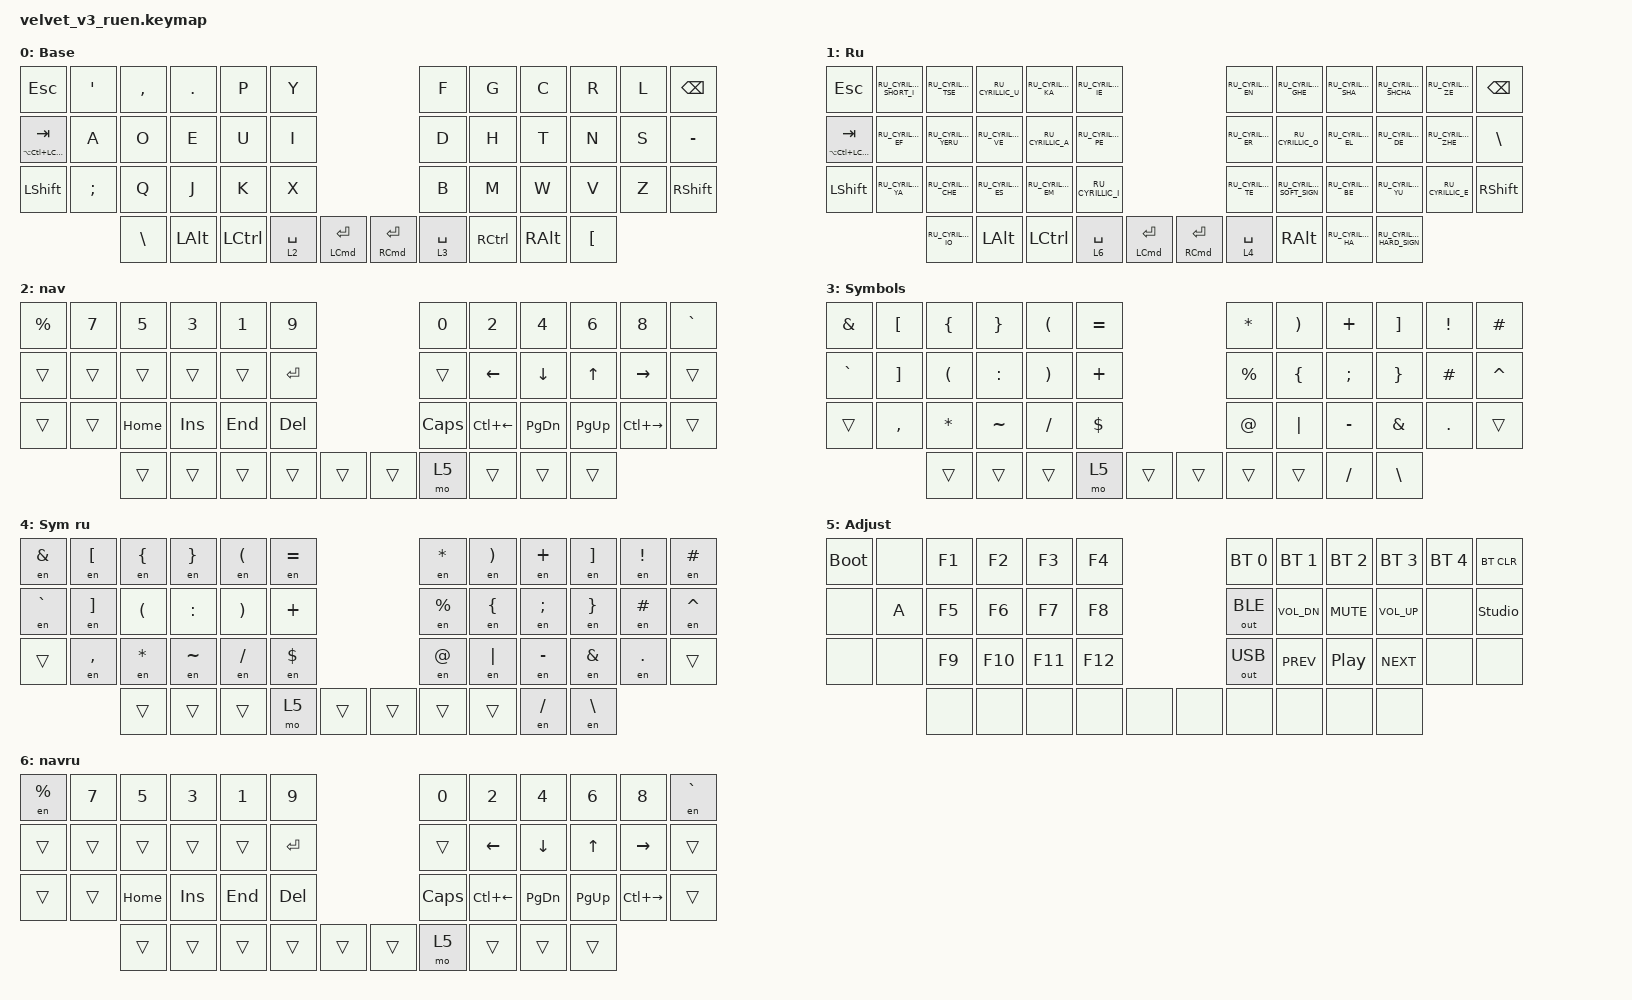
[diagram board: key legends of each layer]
#include "keys_ru.h"
#include <behaviors.dtsi>
#include <dt-bindings/zmk/bt.h>
#include <dt-bindings/zmk/keys.h>
#include <dt-bindings/zmk/outputs.h>

/ {
    combos {
        compatible = "zmk,combos";

        cmben {
            bindings = <&layer_en>;
            key-positions = <3 4>;
            layers = <1>;
        };

        cmbru {
            bindings = <&layer_ru>;
            key-positions = <3 4>;
            layers = <0>;
        };
    };

    macros {
        to_ru: to_ru {
            compatible = "zmk,behavior-macro";
            #binding-cells = <0>;
            bindings = <&kp LS(LC(N2))>;
            label = "TO_RU";
            wait-ms = <0>;
            tap-ms = <30>;
        };

        to_en: to_en {
            compatible = "zmk,behavior-macro";
            #binding-cells = <0>;
            bindings = <&kp LS(LC(N1))>;
            label = "TO_EN";
            wait-ms = <0>;
            tap-ms = <30>;
        };

        layer_en: layer_en {
            compatible = "zmk,behavior-macro";
            #binding-cells = <0>;
            bindings = <&to 0 &to_en>;
            label = "LAYER_EN";
            wait-ms = <0>;
            tap-ms = <30>;
        };

        layer_ru: layer_ru {
            compatible = "zmk,behavior-macro";
            #binding-cells = <0>;
            bindings = <&to 1 &to_ru>;
            label = "LAYER_RU";
            tap-ms = <30>;
            wait-ms = <0>;
        };

        en: en {
            compatible = "zmk,behavior-macro-one-param";
            #binding-cells = <1>;
            bindings =
                <&to_en>,
                <&macro_press>,
                <&macro_param_1to1 &kp MACRO_PLACEHOLDER>,
                <&macro_pause_for_release>,
                <&macro_release>,
                <&macro_param_1to1 &kp MACRO_PLACEHOLDER>,
                <&macro_tap>,
                <&to_ru>;

            label = "EN";
            wait-ms = <0>;
            tap-ms = <30>;
        };
    };

    keymap {
        compatible = "zmk,keymap";

        en {
            bindings = <
&kp ESC                       &kp APOS  &kp COMMA      &kp DOT       &kp P             &kp Y                                                           &kp F        &kp G              &kp C          &kp R             &kp L  &kp BSPC
&mt LA(LC(LEFT_COMMAND)) TAB  &kp A     &kp O          &kp E         &kp U             &kp I                                                           &kp D        &kp H              &kp T          &kp N             &kp S  &kp MINUS
&kp LSHFT                     &kp SEMI  &kp Q          &kp J         &kp K             &kp X                                                           &kp B        &kp M              &kp W          &kp V             &kp Z  &kp RSHFT
                                        &kp BACKSLASH  &kp LEFT_ALT  &kp LEFT_CONTROL  &lt 2 SPACE  &mt LEFT_COMMAND ENTER    &mt RIGHT_COMMAND ENTER  &lt 3 SPACE  &kp RIGHT_CONTROL  &kp RIGHT_ALT  &kp LEFT_BRACKET
            >;

            display-name = "Base";
        };

        ru {
            display-name = "Ru";
            bindings = <
&kp ESC                       &kp RU_CYRILLIC_SHORT_I  &kp RU_CYRILLIC_TSE   &kp RU_CYRILLIC_U   &kp RU_CYRILLIC_KA  &kp RU_CYRILLIC_IE                                                     &kp RU_CYRILLIC_EN  &kp RU_CYRILLIC_GHE        &kp RU_CYRILLIC_SHA  &kp RU_CYRILLIC_SHCHA      &kp RU_CYRILLIC_ZE   &kp BSPC
&mt LA(LC(LEFT_COMMAND)) TAB  &kp RU_CYRILLIC_EF       &kp RU_CYRILLIC_YERU  &kp RU_CYRILLIC_VE  &kp RU_CYRILLIC_A   &kp RU_CYRILLIC_PE                                                     &kp RU_CYRILLIC_ER  &kp RU_CYRILLIC_O          &kp RU_CYRILLIC_EL   &kp RU_CYRILLIC_DE         &kp RU_CYRILLIC_ZHE  &kp BSLH
&kp LSHFT                     &kp RU_CYRILLIC_YA       &kp RU_CYRILLIC_CHE   &kp RU_CYRILLIC_ES  &kp RU_CYRILLIC_EM  &kp RU_CYRILLIC_I                                                      &kp RU_CYRILLIC_TE  &kp RU_CYRILLIC_SOFT_SIGN  &kp RU_CYRILLIC_BE   &kp RU_CYRILLIC_YU         &kp RU_CYRILLIC_E    &kp RSHFT
                                                       &kp RU_CYRILLIC_IO    &kp LEFT_ALT        &kp LCTRL           &lt 6 SPACE         &mt LEFT_COMMAND ENTER    &mt RIGHT_COMMAND ENTER  &lt 4 SPACE         &kp RIGHT_ALT              &kp RU_CYRILLIC_HA   &kp RU_CYRILLIC_HARD_SIGN
            >;
        };

        nav {
            bindings = <
&kp PRCNT  &kp N7  &kp N5    &kp N3   &kp N1   &kp N9                     &kp N0    &kp N2        &kp N4         &kp N6       &kp N8         &kp GRAVE
&trans     &trans  &trans    &trans   &trans   &kp RET                    &trans    &kp LEFT      &kp DOWN       &kp UP       &kp RIGHT      &trans
&trans     &trans  &kp HOME  &kp INS  &kp END  &kp DEL                    &kp CLCK  &kp LC(LEFT)  &kp PAGE_DOWN  &kp PAGE_UP  &kp LC(RIGHT)  &trans
                   &trans    &trans   &trans   &trans   &trans    &trans  &mo 5     &trans        &trans         &trans
            >;

            display-name = "nav";
            label = "Navigation";
        };

        sym_en {
            bindings = <
&kp AMPS   &kp LBKT   &kp LBRC  &kp RBRC   &kp LPAR  &kp EQUAL                    &kp STAR   &kp RPAR  &kp PLUS   &kp RBKT       &kp EXCL  &kp HASH
&kp GRAVE  &kp RBKT   &kp LPAR  &kp COLON  &kp RPAR  &kp PLUS                     &kp PRCNT  &kp LBRC  &kp SEMI   &kp RBRC       &kp HASH  &kp CARET
&trans     &kp COMMA  &kp STAR  &kp TILDE  &kp FSLH  &kp DLLR                     &kp AT     &kp PIPE  &kp MINUS  &kp AMPS       &kp DOT   &trans
                      &trans    &trans     &trans    &mo 5      &trans    &trans  &trans     &trans    &kp FSLH   &kp BACKSLASH
            >;

            display-name = "Symbols";
        };

        sym_ru {
            display-name = "Sym ru";
            bindings = <
&en AMPS   &en LBKT   &en LBRC  &en RBRC   &en LPAR  &en EQUAL                    &en STAR   &en RPAR  &en PLUS   &en RBKT  &en EXCL  &en HASH
&en GRAVE  &en RBKT   &kp LPAR  &kp COLON  &kp RPAR  &kp PLUS                     &en PRCNT  &en LBRC  &en SEMI   &en RBRC  &en HASH  &en CARET
&trans     &en COMMA  &en STAR  &en TILDE  &en FSLH  &en DLLR                     &en AT     &en PIPE  &en MINUS  &en AMPS  &en DOT   &trans
                      &trans    &trans     &trans    &mo 5      &trans    &trans  &trans     &trans    &en FSLH   &en BSLH
            >;
        };

        adj {
            bindings = <
&bootloader  &none  &kp F1  &kp F2   &kp F3   &kp F4                   &bt BT_SEL 0  &bt BT_SEL 1  &bt BT_SEL 2      &bt BT_SEL 3  &bt BT_SEL 4  &bt BT_CLR
&none        &kp A  &kp F5  &kp F6   &kp F7   &kp F8                   &out OUT_BLE  &kp C_VOL_DN  &kp C_MUTE        &kp C_VOL_UP  &none         &studio_unlock
&none        &none  &kp F9  &kp F10  &kp F11  &kp F12                  &out OUT_USB  &kp C_PREV    &kp C_PLAY_PAUSE  &kp C_NEXT    &none         &none
                    &none   &none    &none    &none    &none    &none  &none         &none         &none             &none
            >;

            display-name = "Adjust";
        };

        nav_ru {
            label = "navru";
            display-name = "navru";
            bindings = <
&en PRCNT  &kp N7  &kp N5    &kp N3   &kp N1   &kp N9                     &kp N0    &kp N2        &kp N4         &kp N6       &kp N8         &en GRAVE
&trans     &trans  &trans    &trans   &trans   &kp RET                    &trans    &kp LEFT      &kp DOWN       &kp UP       &kp RIGHT      &trans
&trans     &trans  &kp HOME  &kp INS  &kp END  &kp DEL                    &kp CLCK  &kp LC(LEFT)  &kp PAGE_DOWN  &kp PAGE_UP  &kp LC(RIGHT)  &trans
                   &trans    &trans   &trans   &trans   &trans    &trans  &mo 5     &trans        &trans         &trans
            >;
        };
    };
};
